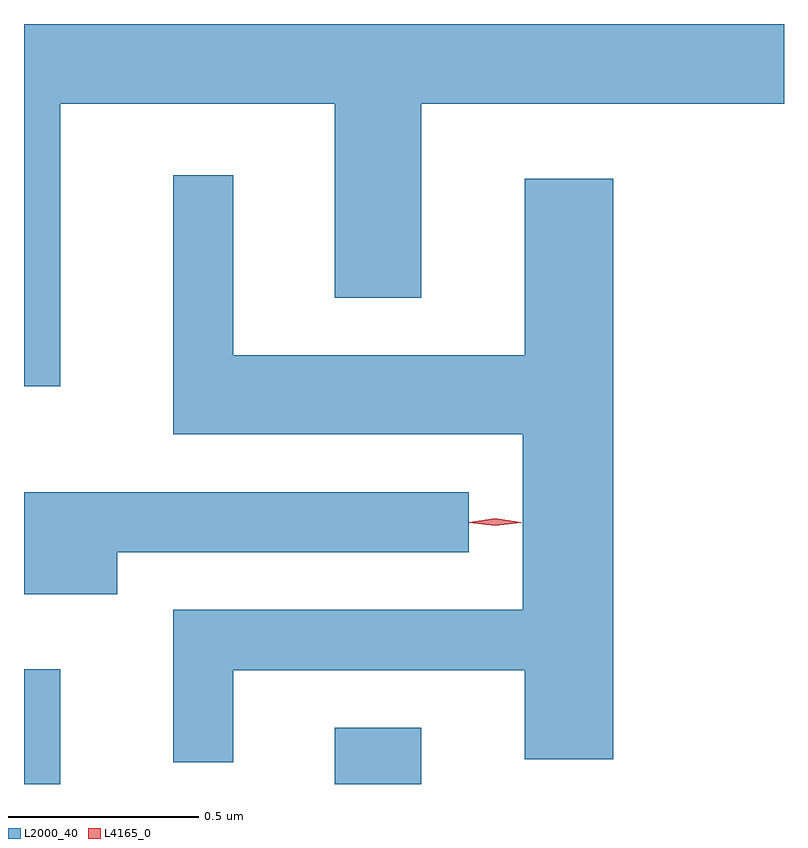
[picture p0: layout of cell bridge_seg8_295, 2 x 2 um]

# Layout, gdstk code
import gdstk
lib = gdstk.Library(unit=1e-6, precision=1e-09)
def R(c, l, rs):  # rectangles x0, y0, x1, y1
    for r in rs: c.add(gdstk.rectangle(r[:2], r[2:], *l))
def P(c, l, *ps):  # polygons
    for p in ps: c.add(gdstk.Polygon(p, *l))
L2000_40 = (2000, 40)
L4165_0 = (4165, 0)

bridge_seg8_295 = lib.new_cell('bridge_seg8_295')
R(bridge_seg8_295, L2000_40, [(1295.823,1819.086,1295.919,1819.388), (1296.641,1819.086,1296.869,1819.234)])
P(bridge_seg8_295, L2000_40, [(1295.919,1820.876),(1296.641,1820.876),(1296.641,1820.366),(1296.869,1820.366),(1296.869,1820.876),(1297.823,1820.876),(1297.823,1821.086),(1295.823,1821.086),(1295.823,1820.133),(1295.919,1820.133)],
  [(1296.374,1819.386),(1297.141,1819.386),(1297.141,1819.151),(1297.374,1819.151),(1297.374,1820.679),(1297.141,1820.679),(1297.141,1820.214),(1296.374,1820.214),(1296.374,1820.688),(1296.216,1820.688),(1296.216,1820.006),(1297.136,1820.006),(1297.136,1819.544),(1296.216,1819.544),(1296.216,1819.143),(1296.374,1819.143)],
  [(1296.069,1819.696),(1296.993,1819.696),(1296.993,1819.854),(1295.823,1819.854),(1295.823,1819.586),(1296.069,1819.586)])
P(bridge_seg8_295, L4165_0, [(1297.063,1819.765),(1296.997,1819.774),(1296.997,1819.775),(1296.997,1819.775),(1297.063,1819.785),(1297.129,1819.775),(1297.129,1819.775),(1297.129,1819.774)],
  [(1297.063,1819.765),(1296.994,1819.774),(1296.994,1819.775),(1296.994,1819.775),(1297.063,1819.785),(1297.132,1819.775),(1297.132,1819.775),(1297.132,1819.774)])

lib.write_gds('bridge_seg8_295.gds')
